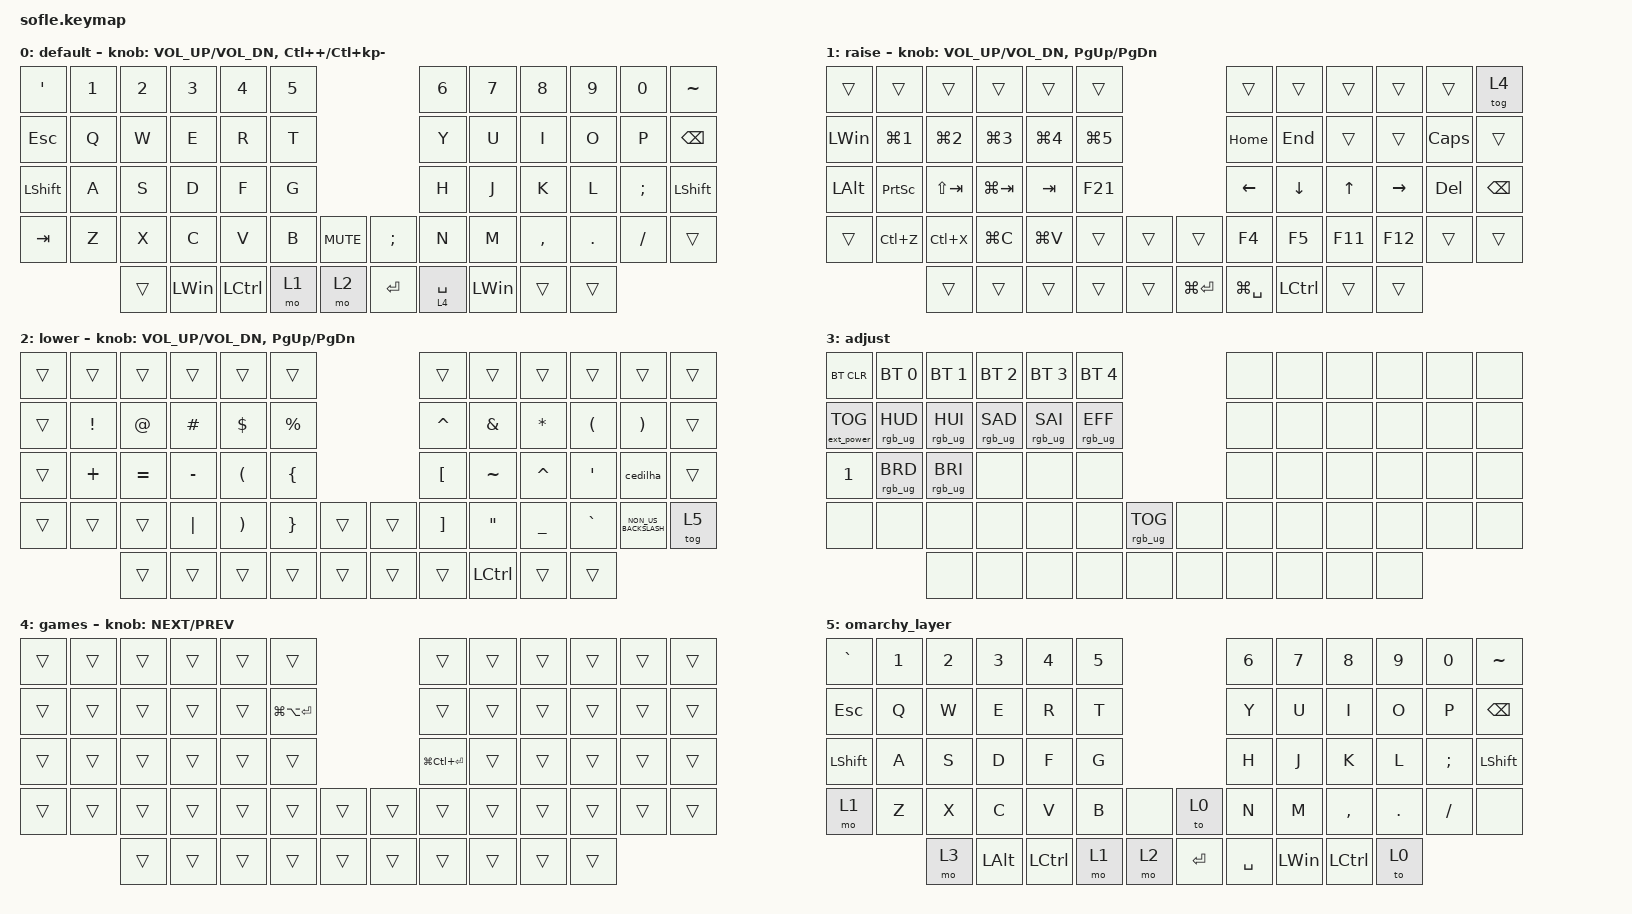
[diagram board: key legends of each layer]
/*
 * Copyright (c) 2020 The ZMK Contributors
 *
 * SPDX-License-Identifier: MIT
 */

#include <behaviors.dtsi>
#include <dt-bindings/zmk/bt.h>
#include <dt-bindings/zmk/ext_power.h>
#include <dt-bindings/zmk/keys.h>
#include <dt-bindings/zmk/rgb.h>

#define BASE 0
#define LOWER 1
#define RAISE 2
#define ADJUST 3

/ {
    // Activate ADJUST layer by pressing raise and lower

    conditional_layers { compatible = "zmk,conditional-layers"; };

    combos {
        compatible = "zmk,combos";

        exclamacao {
            bindings = <&kp EXCLAMATION>;
            key-positions = <13 1>;
        };

        arroba {
            bindings = <&kp AT_SIGN>;
            key-positions = <2 14>;
        };

        jogodavelha {
            bindings = <&kp HASH>;
            key-positions = <15 3>;
        };

        dolar {
            bindings = <&kp DOLLAR>;
            key-positions = <16 4>;
        };

        porcentagem {
            bindings = <&kp PERCENT>;
            key-positions = <17 5>;
        };

        tio {
            bindings = <&kp CARET>;
            key-positions = <6 18>;
        };

        ecomercial {
            bindings = <&kp AMPERSAND>;
            key-positions = <19 7>;
        };

        asterisco {
            bindings = <&kp ASTERISK>;
            key-positions = <20 8>;
        };

        abreparenteses {
            bindings = <&kp LEFT_PARENTHESIS>;
            key-positions = <21 9>;
        };

        fechaparenteses {
            bindings = <&kp RIGHT_PARENTHESIS>;
            key-positions = <22 10>;
        };

        mais {
            bindings = <&kp PLUS>;
            key-positions = <23 11>;
        };
    };

    macros {
        cedilha: cedilha {
            compatible = "zmk,behavior-macro";
            #binding-cells = <0>;
            bindings = <&kp APOS &kp C>;
            label = "CEDILHA";
        };
    };

    keymap {
        compatible = "zmk,keymap";

        default_layer {
            display-name = "default";

            // ------------------------------------------------------------------------------------------------------------
            // |   `   |  1  |  2  |  3   |  4   |  5   |                   |  6   |  7    |  8    |  9   |   0   |       |
            // |  ESC  |  Q  |  W  |  E   |  R   |  T   |                   |  Y   |  U    |  I    |  O   |   P   | BKSPC |
            // |  TAB  |  A  |  S  |  D   |  F   |  G   |                   |  H   |  J    |  K    |  L   |   ;   |   '   |
            // | SHIFT |  Z  |  X  |  C   |  V   |  B   |  MUTE  |  |       |  N   |  M    |  ,    |  .   |   /   | SHIFT |
            //               | GUI | ALT  | CTRL | LOWER|  ENTER |  | SPACE | RAISE| CTRL  | ALT   | GUI  |

            bindings = <
&kp SINGLE_QUOTE  &kp N1  &kp N2  &kp N3    &kp N4     &kp N5                               &kp N6       &kp N7        &kp N8     &kp N9   &kp N0    &kp TILDE
&kp ESC           &kp Q   &kp W   &kp E     &kp R      &kp T                                &kp Y        &kp U         &kp I      &kp O    &kp P     &kp BACKSPACE
&kp LEFT_SHIFT    &kp A   &kp S   &kp D     &kp F      &kp G                                &kp H        &kp J         &kp K      &kp L    &kp SEMI  &kp LEFT_SHIFT
&kp TAB           &kp Z   &kp X   &kp C     &kp V      &kp B   &kp C_MUTE    &kp SEMICOLON  &kp N        &kp M         &kp COMMA  &kp DOT  &kp FSLH  &trans
                          &trans  &kp LWIN  &kp LCTRL  &mo 1   &mo 2         &kp ENTER      &lt 4 SPACE  &kp LEFT_WIN  &trans     &trans
            >;

            sensor-bindings =
                <&inc_dec_kp C_VOL_UP C_VOL_DN>,
                <&inc_dec_kp LC(PLUS) LC(KP_SUBTRACT)>;
        };

        navegacao {
            display-name = "raise";

            // ------------------------------------------------------------------------------------------------------------
            // | BTCLR | BT1  | BT2  |  BT3  |  BT4  |  BT5 |                |      |      |       |      |       |       |
            // |       | INS  | PSCR | GUI   |       |      |                | PGUP |      |   ^   |      |       |       |
            // |       | ALT  | CTRL | SHIFT |       | CAPS |                | PGDN |   <- |   v   |  ->  |  DEL  | BKSPC |
            // |       | UNDO | CUT  | COPY  | PASTE |      |      |  |      |      |      |       |      |       |       |
            //                |      |       |       |      |      |  |      |      |      |       |      |

            bindings = <
&trans        &trans            &trans            &trans            &trans            &trans                               &trans          &trans            &trans        &trans     &trans        &tog 4
&kp LWIN      &kp LG(NUMBER_1)  &kp LG(NUMBER_2)  &kp LG(NUMBER_3)  &kp LG(NUMBER_4)  &kp LG(N5)                           &kp HOME        &kp END           &trans        &trans     &kp CAPSLOCK  &trans
&kp LEFT_ALT  &kp PRINTSCREEN   &kp LS(TAB)       &kp LG(TAB)       &kp TAB           &kp F21                              &kp LEFT_ARROW  &kp DOWN_ARROW    &kp UP_ARROW  &kp RIGHT  &kp DEL       &kp BSPC
&trans        &kp LC(Z)         &kp LC(X)         &kp LG(C)         &kp LG(V)         &trans      &trans    &trans         &kp F4          &kp F5            &kp F11       &kp F12    &trans        &trans
                                &trans            &trans            &trans            &trans      &trans    &kp LG(ENTER)  &kp LG(SPACE)   &kp LEFT_CONTROL  &trans        &trans
            >;

            sensor-bindings =
                <&inc_dec_kp C_VOL_UP C_VOL_DN>,
                <&inc_dec_kp PAGE_UP PAGE_DOWN>;
        };

        simbolos {
            display-name = "lower";

            // TODO: Some binds are waiting for shifted keycode support.
            // ------------------------------------------------------------------------------------------------------------
            // |       |  F1 |  F2 |  F3  |  F4  |  F5  |                   |  F6  |  F7   |  F8   |  F9  |  F10  |  F11  |
            // |   `   |  1  |  2  |  3   |  4   |  5   |                   |  6   |  7    |  8    |  9   |   0   |  F12  |
            // |       |  !  |  @  |  #   |  $   |  %   |                   |  ^   |  &    |  *    |  (   |   )   |   |   |
            // |       |  =  |  -  |  +   |  {   |  }   |        |  |       |  [   |  ]    |  ;    |  :   |   \   |       |
            //               |     |      |      |      |        |  |       |      |       |       |      |

            bindings = <
&trans  &trans           &trans       &trans     &trans                 &trans                             &trans             &trans             &trans        &trans                &trans                 &trans
&trans  &kp EXCLAMATION  &kp AT_SIGN  &kp HASH   &kp DOLLAR             &kp PERCENT                        &kp CARET          &kp AMPERSAND      &kp ASTERISK  &kp LEFT_PARENTHESIS  &kp RIGHT_PARENTHESIS  &trans
&trans  &kp PLUS         &kp EQUAL    &kp MINUS  &kp LEFT_PARENTHESIS   &kp LEFT_BRACE                     &kp LEFT_BRACKET   &kp TILDE          &kp CARET     &kp APOS              &cedilha               &trans
&trans  &trans           &trans       &kp PIPE   &kp RIGHT_PARENTHESIS  &kp RIGHT_BRACE  &trans    &trans  &kp RIGHT_BRACKET  &kp DOUBLE_QUOTES  &kp UNDER     &kp GRAVE             &kp NON_US_BACKSLASH   &tog 5
                         &trans       &trans     &trans                 &trans           &trans    &trans  &trans             &kp LEFT_CONTROL   &trans        &trans
            >;

            sensor-bindings = <&inc_dec_kp C_VOL_UP C_VOL_DN &inc_dec_kp PG_UP PG_DN>;
        };

        adjust_layer {
            // ----------------------------------------------------------------------------------------------------------------------------
            // | BTCLR  |  BT1    |  BT2    |   BT3   |   BT4   |   BT5   |                  |      |      |       |      |       |       |
            // | EXTPWR | RGB_HUD | RGB_HUI | RGB_SAD | RGB_SAI | RGB_EFF |                  |      |      |       |      |       |       |
            // |        | RGB_BRD | RGB_BRI |         |         |         |                  |      |      |       |      |       |       |
            // |        |         |         |         |         |         | RGB_TOG | |      |      |      |       |      |       |       |
            //                    |         |         |         |         |         | |      |      |      |       |      |

            display-name = "adjust";
            bindings = <
&bt BT_CLR         &bt BT_SEL 0     &bt BT_SEL 1     &bt BT_SEL 2     &bt BT_SEL 3     &bt BT_SEL 4                               &none  &none  &none  &none  &none  &none
&ext_power EP_TOG  &rgb_ug RGB_HUD  &rgb_ug RGB_HUI  &rgb_ug RGB_SAD  &rgb_ug RGB_SAI  &rgb_ug RGB_EFF                            &none  &none  &none  &none  &none  &none
&kp NUMBER_1       &rgb_ug RGB_BRD  &rgb_ug RGB_BRI  &none            &none            &none                                      &none  &none  &none  &none  &none  &none
&none              &none            &none            &none            &none            &none            &rgb_ug RGB_TOG    &none  &none  &none  &none  &none  &none  &none
                                    &none            &none            &none            &none            &none              &none  &none  &none  &none  &none
            >;
        };

        games {
            bindings = <
&trans  &trans  &trans  &trans  &trans  &trans                               &trans             &trans  &trans  &trans  &trans  &trans
&trans  &trans  &trans  &trans  &trans  &kp LG(LA(ENTER))                    &trans             &trans  &trans  &trans  &trans  &trans
&trans  &trans  &trans  &trans  &trans  &trans                               &kp LG(LC(ENTER))  &trans  &trans  &trans  &trans  &trans
&trans  &trans  &trans  &trans  &trans  &trans             &trans    &trans  &trans             &trans  &trans  &trans  &trans  &trans
                &trans  &trans  &trans  &trans             &trans    &trans  &trans             &trans  &trans  &trans
            >;

            sensor-bindings = <&inc_dec_kp K_NEXT K_PREV>;
        };

        omarchy_layer {
            bindings = <
&kp GRAVE       &kp N1  &kp N2  &kp N3        &kp N4     &kp N5                      &kp N6     &kp N7    &kp N8            &kp N9   &kp N0    &kp TILDE
&kp ESC         &kp Q   &kp W   &kp E         &kp R      &kp T                       &kp Y      &kp U     &kp I             &kp O    &kp P     &kp BACKSPACE
&kp LEFT_SHIFT  &kp A   &kp S   &kp D         &kp F      &kp G                       &kp H      &kp J     &kp K             &kp L    &kp SEMI  &kp LEFT_SHIFT
&mo 1           &kp Z   &kp X   &kp C         &kp V      &kp B   &none    &to 0      &kp N      &kp M     &kp COMMA         &kp DOT  &kp FSLH  &none
                        &mo 3   &kp LEFT_ALT  &kp LCTRL  &mo 1   &mo 2    &kp ENTER  &kp SPACE  &kp LWIN  &kp LEFT_CONTROL  &to 0
            >;
        };
    };
};
